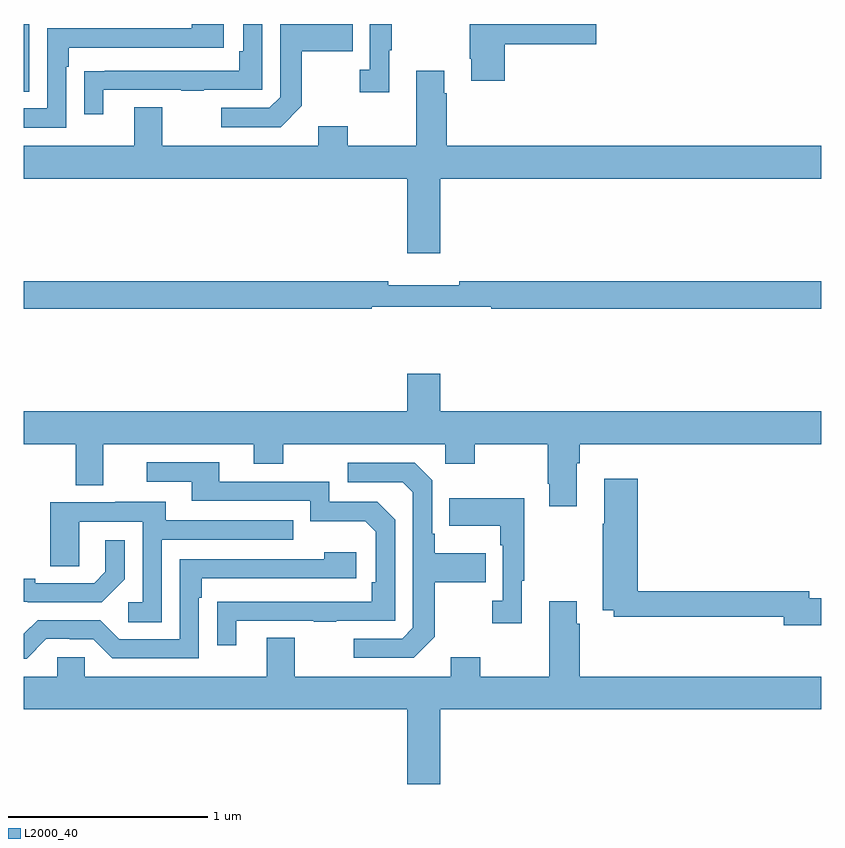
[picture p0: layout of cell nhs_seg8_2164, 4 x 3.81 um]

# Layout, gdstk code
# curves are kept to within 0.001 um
import gdstk
lib = gdstk.Library(unit=1e-6, precision=1e-09)
def R(c, l, rs):  # rectangles x0, y0, x1, y1
    for r in rs: c.add(gdstk.rectangle(r[:2], r[2:], *l))
def P(c, l, *ps):  # polygons
    for p in ps: c.add(gdstk.Polygon(p, *l))
L2000_40 = (2000, 40)

nhs_seg8_2164 = lib.new_cell('nhs_seg8_2164')
R(nhs_seg8_2164, L2000_40, [(247,1159.561,247.026,1159.9)])
P(nhs_seg8_2164, L2000_40, [(249.413,1159.799),(249.871,1159.799),(249.871,1159.9),(249.238,1159.9),(249.238,1159.726),(249.245,1159.726),(249.245,1159.614),(249.413,1159.614)],
  [(247.212,1159.685),(247.225,1159.685),(247.225,1159.782),(248.002,1159.782),(248.002,1159.9),(247.841,1159.9),(247.841,1159.878),(247.116,1159.878),(247.116,1159.476),(247,1159.476),(247,1159.38),(247.212,1159.38)],
  [(248.833,1159.769),(248.845,1159.769),(248.845,1159.9),(248.736,1159.9),(248.736,1159.67),(248.685,1159.67),(248.685,1159.557),(248.833,1159.557)],
  [(248.395,1159.489),(248.395,1159.762),(248.651,1159.762),(248.651,1159.9),(248.286,1159.9),(248.286,1159.533),(248.232,1159.479),(247.989,1159.479),(247.989,1159.383),(248.289,1159.383)],
  [(247.399,1159.569),(247.789,1159.569),(247.789,1159.564),(247.901,1159.564),(247.901,1159.569),(248.196,1159.569),(248.196,1159.9),(248.1,1159.9),(248.1,1159.762),(248.08,1159.762),(248.08,1159.665),(247.405,1159.665),(247.405,1159.664),(247.303,1159.664),(247.303,1159.446),(247.399,1159.446)],
  [(249.088,1159.124),(251,1159.124),(251,1159.288),(249.122,1159.288),(249.122,1159.553),(249.109,1159.553),(249.109,1159.666),(248.969,1159.666),(248.969,1159.288),(248.625,1159.288),(248.625,1159.387),(248.477,1159.387),(248.477,1159.288),(247.693,1159.288),(247.693,1159.483),(247.553,1159.483),(247.553,1159.288),(247,1159.288),(247,1159.124),(248.924,1159.124),(248.924,1158.75),(249.088,1158.75)],
  [(248.745,1158.48),(249.345,1158.48),(249.345,1158.472),(251,1158.472),(251,1158.608),(249.184,1158.608),(249.184,1158.589),(248.828,1158.589),(248.828,1158.608),(247,1158.608),(247,1158.472),(248.745,1158.472)],
  [(249.775,1157.696),(249.788,1157.696),(249.788,1157.792),(251,1157.792),(251,1157.956),(249.088,1157.956),(249.088,1158.145),(248.924,1158.145),(248.924,1157.956),(247,1157.956),(247,1157.792),(247.259,1157.792),(247.259,1157.584),(247.399,1157.584),(247.399,1157.792),(248.153,1157.792),(248.153,1157.693),(248.301,1157.693),(248.301,1157.792),(249.114,1157.792),(249.114,1157.693),(249.261,1157.693),(249.261,1157.792),(249.628,1157.792),(249.628,1157.593),(249.635,1157.593),(249.635,1157.481),(249.775,1157.481)],
  [(248.065,1156.905),(248.455,1156.905),(248.455,1156.9),(248.567,1156.9),(248.567,1156.905),(248.862,1156.905),(248.862,1157.412),(248.772,1157.502),(248.532,1157.502),(248.532,1157.604),(247.981,1157.604),(247.981,1157.7),(247.617,1157.7),(247.617,1157.604),(247.841,1157.604),(247.841,1157.508),(248.436,1157.508),(248.436,1157.405),(248.713,1157.405),(248.766,1157.352),(248.766,1157.098),(248.746,1157.098),(248.746,1157.001),(247.969,1157),(247.969,1156.782),(248.065,1156.782)],
  [(249.061,1156.825),(249.061,1157.098),(249.317,1157.098),(249.317,1157.245),(249.061,1157.245),(249.061,1157.341),(249.048,1157.341),(249.048,1157.61),(248.961,1157.697),(248.625,1157.697),(248.625,1157.601),(248.901,1157.601),(248.952,1157.55),(248.952,1156.869),(248.898,1156.815),(248.655,1156.815),(248.655,1156.719),(248.955,1156.719)],
  [(251,1157.018),(250.942,1157.018),(250.942,1157.054),(250.079,1157.054),(250.079,1157.617),(249.911,1157.617),(249.911,1157.393),(249.904,1157.393),(249.904,1156.958),(249.96,1156.958),(249.96,1156.926),(250.814,1156.926),(250.814,1156.883),(251,1156.883)],
  [(249.499,1157.105),(249.511,1157.105),(249.511,1157.521),(249.133,1157.521),(249.133,1157.381),(249.39,1157.381),(249.39,1157.285),(249.402,1157.285),(249.402,1157.006),(249.351,1157.006),(249.351,1156.893),(249.499,1156.893)],
  [(247.692,1157.313),(248.351,1157.313),(248.351,1157.409),(247.711,1157.409),(247.711,1157.503),(247.457,1157.503),(247.457,1157.499),(247.133,1157.499),(247.133,1157.179),(247.278,1157.179),(247.278,1157.403),(247.596,1157.403),(247.596,1156.998),(247.524,1156.998),(247.524,1156.897),(247.692,1156.897)],
  [(247.506,1157.114),(247.506,1157.308),(247.409,1157.308),(247.409,1157.151),(247.352,1157.094),(247.057,1157.094),(247.057,1157.117),(247,1157.117),(247,1157.001),(247.018,1157.001),(247.018,1156.998),(247.39,1156.998)],
  [(247.113,1156.815),(247.229,1156.815),(247.229,1156.812),(247.347,1156.812),(247.443,1156.716),(247.878,1156.716),(247.878,1157.021),(247.891,1157.021),(247.891,1157.118),(248.668,1157.118),(248.668,1157.248),(248.507,1157.248),(248.507,1157.214),(247.782,1157.214),(247.782,1156.812),(247.479,1156.812),(247.383,1156.908),(247.068,1156.908),(247,1156.84),(247,1156.715),(247.013,1156.715)],
  [(249.088,1156.46),(251,1156.46),(251,1156.624),(249.788,1156.624),(249.788,1156.889),(249.775,1156.889),(249.775,1157.002),(249.635,1157.002),(249.635,1156.624),(249.291,1156.624),(249.291,1156.723),(249.143,1156.723),(249.143,1156.624),(248.359,1156.624),(248.359,1156.819),(248.219,1156.819),(248.219,1156.624),(247.305,1156.624),(247.305,1156.722),(247.167,1156.722),(247.167,1156.624),(247,1156.624),(247,1156.46),(248.924,1156.46),(248.924,1156.086),(249.088,1156.086)])

lib.write_gds('nhs_seg8_2164.gds')
